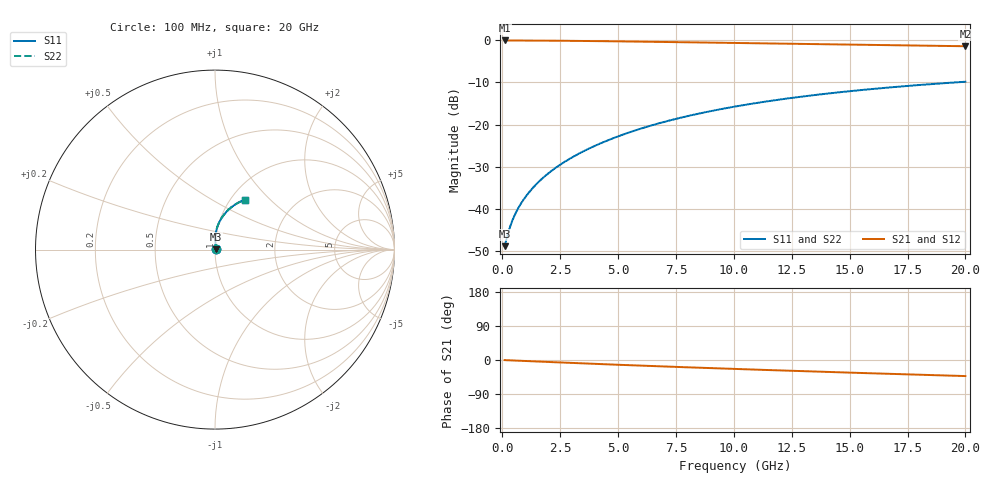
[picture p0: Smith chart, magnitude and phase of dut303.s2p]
! Touchstone file exported from HFSS 2024.1.0
!  File:  C:/UserFiles/LocalFiles/RDL_TSV_Batchsim/temp_RDL_bottom_303_1779610311.aedt
!  Generated:  04:14:22 PM May 24, 2026
!  Design:  RDL_bottom
!  Project:  temp_RDL_bottom_303_1779610311
!  Setup:  Setup1
!  Solution:  Sweep
! Variables:
!  dtsv = 10.80580581um
!  hbump = 3um
!  htsv = 82.28um
!  ldown = 627.42um
!  lrdl = 100um
!  p = 40
!  p1 = 50.55um
!  rhole = 1um
!  t = 450um
!  tdown = 2.7um
!  trdl = 3.915915916um
!  wdown = 28.28um
!  wrdl = 20um
# GHz S MA R 50.000000
! Terminal data exported
! Port[1] = RDL1_T1
! Port[2] = RDL1_T2
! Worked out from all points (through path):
!   200 points, 100 MHz to 20 GHz, reference 50 ohm
!   highest |S21| = -0.03 dB at 100 MHz (marker M1); lowest = -1.4 dB at 20 GHz (marker M2)
!   group delay of S21, straight-line fit = 5.82 ps
!   lowest |S11| = -48.9 dB at 100 MHz (marker M3), VSWR 1.01, Z = 50.3 + j0.157 ohm
!   |S11| at or under -10 dB: start of sweep to 19.56 GHz
!   |S22| runs from -48.9 to -9.8 dB; largest |S21 - S12| = 3.5e-15
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0.1  0.003587 25.8  0.9968 -0.3  0.9968 -0.3  0.003587 25.8
! Gamma 0 0 0 0
! Port Impedance 50 0 50 0
0.3  0.005693 51.0  0.9963 -0.8  0.9963 -0.8  0.005693 51.0
0.4  0.006845 56.8  0.996 -1.1  0.996 -1.1  0.006845 56.8
0.5  0.007988 61.0  0.9958 -1.3  0.9958 -1.3  0.007988 61.0
0.6  0.009128 64.4  0.9955 -1.6  0.9955 -1.6  0.009127 64.4
0.8  0.01143 69.4  0.995 -2.1  0.995 -2.1  0.01143 69.4
1  0.01378 73.1  0.9946 -2.6  0.9946 -2.6  0.01378 73.2
1.2  0.0162 76.0  0.994 -3.2  0.994 -3.2  0.0162 76.0
1.7  0.0225 80.8  0.9924 -4.4  0.9924 -4.4  0.0225 80.9
2.2  0.02915 83.8  0.9904 -5.7  0.9904 -5.7  0.02915 83.8
2.8  0.03757 86.0  0.9874 -7.2  0.9874 -7.2  0.03758 86.1
3.5  0.04799 87.5  0.9833 -9.0  0.9833 -9.0  0.048 87.5
4.2  0.05902 88.1  0.9786 -10.7  0.9786 -10.7  0.05904 88.1
5  0.07228 88.1  0.9727 -12.6  0.9727 -12.6  0.07231 88.1
5.9  0.08787 87.4  0.9656 -14.7  0.9656 -14.7  0.08791 87.5
6.8  0.104 86.3  0.9582 -16.7  0.9582 -16.7  0.104 86.3
8.4  0.1332 83.5  0.9448 -20.2  0.9448 -20.2  0.1333 83.6
10.1  0.1643 80.1  0.9304 -23.7  0.9304 -23.7  0.1645 80.1
11.7  0.193 76.6  0.9171 -26.9  0.9171 -26.9  0.1932 76.7
13.4  0.2224 72.9  0.9031 -30.3  0.9031 -30.3  0.2226 72.9
16.7  0.2753 65.8  0.8766 -36.5  0.8766 -36.5  0.2756 65.9
20  0.3222 59.2  0.8511 -42.4  0.8511 -42.4  0.3225 59.3
